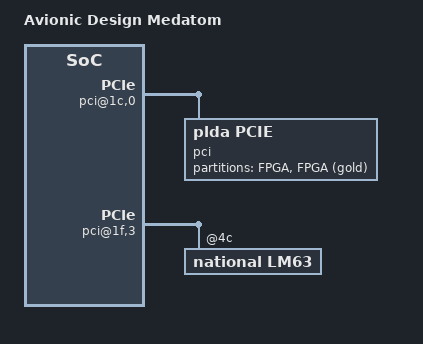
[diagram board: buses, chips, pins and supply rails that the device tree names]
/dts-v1/;
/ {
	model = "Avionic Design Medatom";
	compatible = "ad,medatom";

	#address-cells = <1>;
	#size-cells = <1>;

	cpus {
		#address-cells = <1>;
		#size-cells = <0>;

		cpu@0 {
			device_type = "cpu";
			compatible = "intel,atom";
			reg = <0>;
			lapic = <&lapic0>;
		};
	};

	ioapic0: interrupt-controller@fec00000 {
		compatible = "intel,ce4100-ioapic";
		reg = <0xfec00000 0x1000>;

		#interrupt-cells = <2>;
		interrupt-controller;
	};

	timer@fed00000 {
		compatible = "intel,ce4100-hpet";
		reg = <0xfed00000 0x200>;
	};

	lapic0: interrupt-controller@fee00000 {
		compatible = "intel,ce4100-lapic";
		reg = <0xfee00000 0x1000>;
	};

	pci@3fc {
		device_type = "pci";
		compatible = "pci";

		#address-cells = <3>;
		#size-cells = <2>;

		ranges = <0x20000000 0 0xbffff000 0xbffff000 0 0x1000>;
		bus-range = <0x00 0x0c>;

		pci@1c,0 {
			#address-cells = <3>;
			#size-cells = <2>;

			bus-range = <0x01 0x0a>;
			device_type = "pci";
			reg = <0x00e000 0x0 0x0 0x0 0x0>;

			pci@0,0 {
				#address-cells = <3>;
				#size-cells = <2>;

				compatible = "plda,pcie";
				bus-range = <0x02 0x0a>;
				device_type = "pci";
				reg = <0x010000 0x0 0x0 0x0 0x0>;

				pci@0,0 {
					compatible = "ad,pcie";
					bus-range = <0x03 0x03>;
					device_type = "pci";
					reg = <0x020000 0x0 0x0 0x0 0x0>;

					#address-cells = <3>;
					#size-cells = <2>;

					pci@0,0 {
						compatible = "ad,pcietest";
						reg = <0x030000 0x0 0x0 0x0 0x0>;
					};
				};

				pci@1,0 {
					compatible = "ad,pcie";
					bus-range = <0x04 0x04>;
					device_type = "pci";
					reg = <0x020800 0x0 0x0 0x0 0x0>;

					#address-cells = <3>;
					#size-cells = <2>;

					pci@0,0 {
						compatible = "opencores,spi";
						reg = <0x040000 0x0 0x0 0x0 0x0>;

						#address-cells = <1>;
						#size-cells = <0>;

						clock-frequency = <99000000>;

						m25p80@0 {
							compatible = "m25p80";
							reg = <0>;

							spi-max-frequency = <25000000>;

							#address-cells = <1>;
							#size-cells = <1>;

							partition@0 {
								reg = <0x00000000 0x00400000>;
								label = "FPGA";
							};

							partition@400000 {
								reg = <0x00400000 0x00400000>;
								label = "FPGA (gold)";
								read-only;
							};
						};
					};
				};

				pci@2,0 {
					compatible = "ad,pcie";
					bus-range = <0x05 0x05>;
					device_type = "pci";
					reg = <0x021000 0x00000000 0x00000000 0x00 0x00>;

					#address-cells = <3>;
					#size-cells = <2>;

					gpio: pci@0,0 {
						compatible = "ad,gpio-ad64p";
						reg = <0x050000 0x0 0x0 0x0 0x0>;

						gpio-controller;
						#gpio-cells = <2>;

						interrupt-controller;
						#interrupt-cells = <2>;
					};
				};

				pci@3,0 {
					compatible = "ad,pcie";
					bus-range = <0x06 0x06>;
					device_type = "pci";
					reg = <0x021800 0x0 0x0 0x0 0x0>;

					#address-cells = <3>;
					#size-cells = <2>;

					pci@0,0 {
						compatible = "opencores,uart";
						reg = <0x060000 0x0 0x0 0x0 0x0>;
					};
				};

				pci@4,0 {
					compatible = "ad,pcie";
					bus-range = <0x07 0x07>;
					device_type = "pci";
					reg = <0x022000 0x0 0x0 0x0 0x0>;

					#address-cells = <3>;
					#size-cells = <2>;

					pci@0,0 {
						compatible = "opencores,uart";
						reg = <0x070000 0x0 0x0 0x0 0x0>;
					};
				};

				pci@5,0 {
					compatible = "ad,pcie";
					bus-range = <0x08 0x08>;
					device_type = "pci";
					reg = <0x022800 0x0 0x0 0x0 0x0>;

					#address-cells = <3>;
					#size-cells = <2>;

					pci@0,0 {
						compatible = "opencores,i2c-ocores";
						reg = <0x080000 0x0 0x0 0x0 0x0>;

						clock-frequency = <99000000>;
						reg-io-width = <4>;
						reg-shift = <3>;

						#address-cells = <1>;
						#size-cells = <0>;
					};
				};

				pci@6,0 {
					compatible = "ad,pcie";
					bus-range = <0x09 0x09>;
					device_type = "pci";
					reg = <0x023000 0x0 0x0 0x0 0x0>;

					#address-cells = <3>;
					#size-cells = <2>;

					pci@0,0 {
						compatible = "opencores,i2c-ocores";
						reg = <0x090000 0x0 0x0 0x0 0x0>;

						clock-frequency = <99000000>;
						reg-io-width = <4>;
						reg-shift = <3>;

						#address-cells = <1>;
						#size-cells = <0>;

						touch: tsc2007@48 {
							compatible = "ti,tsc2007";
							reg = <0x48>;

							interrupt-parent = <&gpio>;
							interrupts = <1 0x8>;

							pendown-gpios = <&gpio 1 0>;

							x-plate-ohms = <50>;
							max-rt = <110>;
							poll-delay = <10>;
							poll-period = <20>;
							fuzz = <16 16 16>;
						};

						tpa6130a2@60 {
							compatible = "ti,tpa6130a2";
							reg = <0x60>;
						};
					};
				};

				pci@7,0 {
					compatible = "ad,pcie";
					bus-range = <0x0a 0x0a>;
					device_type = "pci";
					reg = <0x023800 0x0 0x0 0x0 0x0>;

					#address-cells = <3>;
					#size-cells = <2>;

					pci@0,0 {
						compatible = "opencores,ethmac";
						reg = <0x0a0000 0x0 0x0 0x0 0x0>;
					};
				};
			};
		};

		pci@1f,3 {
			compatible = "intel,ich8-smbus";
			reg = <0x00fb00 0x0 0x0 0x0 0x0>;
			device_type = "pci";

			#address-cells = <1>;
			#size-cells = <0>;

			lm63@4c {
				compatible = "national,lm63";
				reg = <0x4c>;
			};
		};
	};
};
